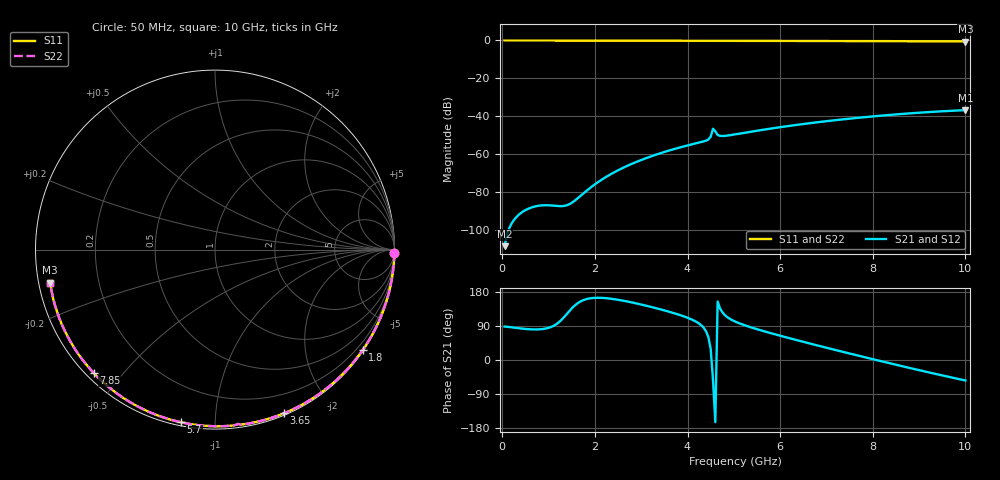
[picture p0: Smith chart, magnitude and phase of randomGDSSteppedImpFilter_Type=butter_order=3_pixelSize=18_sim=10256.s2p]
! freq	dB(S11)	phase(S11)	dB(S12)	phase(S12)
!  dB(S21)	phase(S21)	dB(S22)	phase(S22)
!S-par simulation data
#  GHz  S  DB  R 50
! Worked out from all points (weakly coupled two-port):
!   200 points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, 50 MHz to 10 GHz, reference 50 ohm
!   highest |S21| = -36.68 dB at 10 GHz (marker M1); lowest = -108.3 dB at 50 MHz (marker M2)
!   lowest |S11| = -0.6 dB at 10 GHz (marker M3), VSWR 30.71, Z = 1.64 - j4.93 ohm
!   |S11| at or under -10 dB: nowhere
!   |S22| runs from -0.6 to 0.0 dB; largest |S21 - S12| = 0
!   S11 on the Smith chart (normalised r, x): 50 MHz: open; 1.8 GHz: 0.03, -3.26; 3.65 GHz: 0.02, -1.50; 5.7 GHz: 0.02, -0.82; 7.85 GHz: 0.02, -0.42; 10 GHz: 0.03, -0.10
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0.05  -0.00 -1.0  -108.32 88.3  -108.32 88.3  -0.00 -1.0
0.85  -0.02 -16.3  -86.85 81.4  -86.85 81.4  -0.02 -16.3
1.75  -0.04 -33.2  -80.58 157.9  -80.58 157.9  -0.04 -33.2
1.8  -0.04 -34.1  -79.56 160.1  -79.56 160.1  -0.04 -34.1
2.15  -0.05 -40.5  -73.25 164.0  -73.25 164.0  -0.05 -40.5
2.5  -0.06 -46.9  -68.36 158.9  -68.36 158.9  -0.06 -46.9
2.9  -0.07 -54.1  -63.92 149.2  -63.92 149.2  -0.07 -54.1
3.4  -0.08 -62.9  -59.49 134.2  -59.49 134.2  -0.08 -62.9
3.65  -0.09 -67.2  -57.61 125.7  -57.61 125.7  -0.09 -67.2
4.35  -0.11 -79.2  -53.13 84.9  -53.13 84.9  -0.11 -79.1
4.45  -0.12 -80.9  -52.14 60.3  -52.14 60.3  -0.12 -80.9
4.5  -0.13 -81.8  -50.68 29.1  -50.68 29.1  -0.13 -81.8
4.55  -0.18 -82.6  -46.50 -52.6  -46.50 -52.6  -0.18 -82.6
4.65  -0.13 -84.0  -49.74 154.3  -49.74 154.3  -0.13 -83.9
4.7  -0.13 -84.8  -50.25 136.2  -50.25 136.2  -0.13 -84.8
5.05  -0.14 -90.6  -49.37 100.2  -49.37 100.2  -0.14 -90.6
5.7  -0.17 -101.1  -46.76 74.2  -46.76 74.2  -0.17 -101.1
6.7  -0.23 -116.8  -43.38 41.6  -43.38 41.6  -0.23 -116.8
7.85  -0.32 -134.6  -40.33 6.6  -40.33 6.6  -0.32 -134.5
8.35  -0.37 -142.3  -39.25 -8.1  -39.25 -8.1  -0.37 -142.2
9.2  -0.46 -155.7  -37.73 -32.4  -37.73 -32.4  -0.46 -155.6
10  -0.57 -168.7  -36.68 -54.0  -36.68 -54.0  -0.57 -168.6
